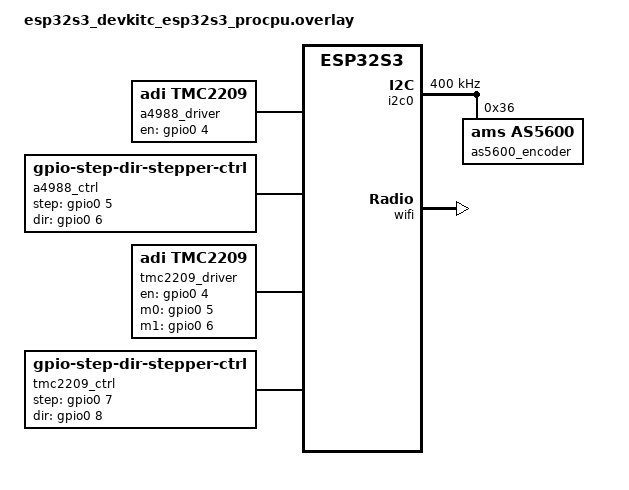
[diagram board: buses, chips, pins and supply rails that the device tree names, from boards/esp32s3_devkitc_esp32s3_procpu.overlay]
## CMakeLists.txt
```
cmake_minimum_required(VERSION 3.20.0)

set(ZENBEDDED_SCHEMA_FILE ${CMAKE_CURRENT_SOURCE_DIR}/interface_schema.yaml)

list(APPEND ZEPHYR_EXTRA_MODULES ${CMAKE_CURRENT_SOURCE_DIR}/../../zenbedded_rcl)

find_package(Zephyr REQUIRED HINTS $ENV{ZEPHYR_BASE})
set(CMAKE_CXX_STANDARD 17)
set(CMAKE_CXX_STANDARD_REQUIRED ON)
set(CMAKE_CXX_EXTENSIONS OFF)

project(inverted_pendulum)
target_sources(app PRIVATE src/main.cpp)
target_compile_definitions(app PRIVATE _GNU_SOURCE _USE_MATH_DEFINES)


target_include_directories(app PRIVATE
        ${CMAKE_CURRENT_SOURCE_DIR}/../../zenbedded_rcl/include
)

add_custom_target(lib_dev_sync SOURCES
        ${CMAKE_CURRENT_SOURCE_DIR}/../../zenbedded_rcl/src
        ${CMAKE_CURRENT_SOURCE_DIR}/../../zenbedded_rcl/include
)
```

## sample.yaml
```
sample:
  name: Inverted Pendulum Zenoh Demo
common:
  build_only: true
  tags: zenoh
tests:
  sample.zenbedded.inverted_pendulum:
    platform_allow:
      - esp32s3_devkitc/esp32s3/procpu
```

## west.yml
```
manifest:
  remotes:
    - name: zephyrproject-rtos
      url-base: https://github.com/zephyrproject-rtos

  projects:
    - name: zephyr
      remote: zephyrproject-rtos
      revision: v3.7.0
      import: true

  self:
    path: demos/inverted_pendulum
    import: ../../zenbedded_transport/west.yml
```

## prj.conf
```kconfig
CONFIG_CPP=y
CONFIG_REQUIRES_FULL_LIBCPP=y
CONFIG_STD_CPP17=y
CONFIG_GLIBCXX_LIBCPP=y

CONFIG_NETWORKING=y
CONFIG_NET_IPV4=y
CONFIG_NET_IPV6=n
CONFIG_NET_UDP=y
CONFIG_NET_TCP=y
CONFIG_NET_SOCKETS=y
CONFIG_NET_SOCKETS_POSIX_NAMES=n
CONFIG_DNS_RESOLVER=y
CONFIG_DNS_RESOLVER_MAX_SERVERS=2

CONFIG_ZENOH_PICO=y
CONFIG_ZENOH_PICO_LINK_UDP_UNICAST=y
CONFIG_ZENOH_PICO_LINK_TCP=y

CONFIG_MAIN_STACK_SIZE=8192
CONFIG_HEAP_MEM_POOL_SIZE=65536

CONFIG_LOG=y
```

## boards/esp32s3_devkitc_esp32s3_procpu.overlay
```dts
#include <zephyr/dt-bindings/gpio/gpio.h>

/ {
	aliases {
		stepper-driver = &a4988_driver;
		stepper-ctrl = &a4988_ctrl;
	};

	a4988_driver: a4988-stepper-driver {
		compatible = "adi,tmc2209";
		en-gpios = <&gpio0 4 GPIO_ACTIVE_HIGH>;
		micro-step-res = <4>;
	};

	a4988_ctrl: a4988-stepper-controller {
		compatible = "zephyr,gpio-step-dir-stepper-ctrl";
		step-gpios = <&gpio0 5 GPIO_ACTIVE_HIGH>;
		dir-gpios = <&gpio0 6 GPIO_ACTIVE_HIGH>;
		invert-direction;
		stepper-driver = <&a4988_driver>;
	};

	tmc2209_driver: tmc2209-stepper-driver {
		compatible = "adi,tmc2209";
		en-gpios = <&gpio0 4 GPIO_ACTIVE_HIGH>;
		m0-gpios = <&gpio0 5 GPIO_ACTIVE_HIGH>;
		m1-gpios = <&gpio0 6 GPIO_ACTIVE_HIGH>;
		micro-step-res = <32>;
	};

	tmc2209_ctrl: tmc2209-stepper-controller {
		compatible = "zephyr,gpio-step-dir-stepper-ctrl";
		step-gpios = <&gpio0 7 GPIO_ACTIVE_HIGH>;
		dir-gpios = <&gpio0 8 GPIO_ACTIVE_HIGH>;
		invert-direction;
		stepper-driver = <&tmc2209_driver>;
	};
};

&pinctrl {
	i2c0_default: i2c0_default {
		group1 {
			pinmux = <I2C0_SDA_GPIO6>, <I2C0_SCL_GPIO7>;
			bias-pull-up;
			drive-open-drain;
			output-high;
		};
	};
};

&i2c0 {
	status = "okay";
	pinctrl-0 = <&i2c0_default>;
	pinctrl-names = "default";
	clock-frequency = <I2C_BITRATE_FAST>;

	as5600_encoder: as5600@36 {
		compatible = "ams,as5600";
		reg = <0x36>;
		status = "okay";
	};
};

&wifi {
	status = "okay";
};
```

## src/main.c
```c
// Copyright 2026 Open Source Robotics Foundation, Inc.
//
// Licensed under the Apache License, Version 2.0 (the "License");
// you may not use this file except in compliance with the License.
// You may obtain a copy of the License at
//
//     http://www.apache.org/licenses/LICENSE-2.0
//
// Unless required by applicable law or agreed to in writing, software
// distributed under the License is distributed on an "AS IS" BASIS,
// WITHOUT WARRANTIES OR CONDITIONS OF ANY KIND, either express or implied.
// See the License for the specific language governing permissions and
// limitations under the License.

#include <zephyr/kernel.h>

int main(void)
{
  printk("Dummy Firmware Booting...\n");
  return 0;
}
```
